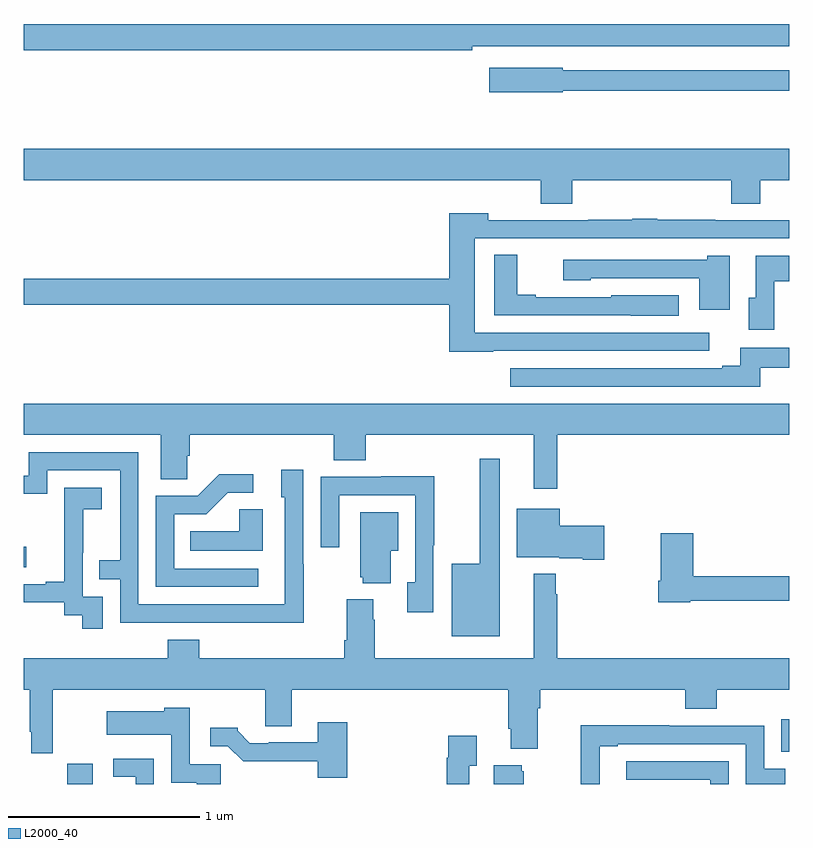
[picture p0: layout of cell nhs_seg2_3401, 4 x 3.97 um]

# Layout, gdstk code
import gdstk
lib = gdstk.Library(unit=1e-6, precision=1e-09)
def R(c, l, rs):  # rectangles x0, y0, x1, y1
    for r in rs: c.add(gdstk.rectangle(r[:2], r[2:], *l))
def P(c, l, *ps):  # polygons
    for p in ps: c.add(gdstk.Polygon(p, *l))
L2000_40 = (2000, 40)

nhs_seg2_3401 = lib.new_cell('nhs_seg2_3401')
R(nhs_seg2_3401, L2000_40, [(289.226,657.8,289.36,657.907), (292.959,657.969,293,658.138), (289,658.932,289.012,659.041)])
P(nhs_seg2_3401, L2000_40, [(291.344,661.656),(293,661.656),(293,661.772),(289,661.772),(289,661.636),(291.344,661.636)],
  [(291.816,661.422),(293,661.422),(293,661.53),(291.816,661.53),(291.816,661.543),(291.432,661.543),(291.432,661.414),(291.816,661.414)],
  [(291.866,660.956),(292.697,660.956),(292.697,660.832),(292.849,660.832),(292.849,660.956),(293,660.956),(293,661.12),(289,661.12),(289,660.956),(291.701,660.956),(291.701,660.832),(291.866,660.832)],
  [(291.454,660.063),(292.582,660.063),(292.582,660.159),(291.358,660.159),(291.358,660.651),(293,660.651),(293,660.747),(292.613,660.747),(292.613,660.749),(292.311,660.749),(292.311,660.754),(292.179,660.754),(292.179,660.749),(291.949,660.749),(291.949,660.747),(291.427,660.747),(291.427,660.784),(291.224,660.784),(291.224,660.44),(289,660.44),(289,660.304),(291.224,660.304),(291.224,660.058),(291.454,660.058)],
  [(292.423,660.355),(292.071,660.355),(292.071,660.345),(291.676,660.345),(291.676,660.358),(291.58,660.358),(291.58,660.566),(291.458,660.566),(291.458,660.249),(292.171,660.249),(292.171,660.248),(292.423,660.248)],
  [(292.923,660.428),(293,660.428),(293,660.562),(292.826,660.562),(292.826,660.34),(292.79,660.34),(292.79,660.174),(292.923,660.174)],
  [(292.69,660.562),(292.572,660.562),(292.572,660.54),(291.819,660.54),(291.819,660.434),(291.963,660.434),(291.963,660.444),(292.529,660.444),(292.529,660.278),(292.69,660.278)],
  [(292.849,659.975),(293,659.975),(293,660.079),(292.745,660.079),(292.745,659.986),(292.649,659.986),(292.649,659.973),(291.543,659.973),(291.543,659.877),(292.849,659.877)],
  [(291.787,659.624),(293,659.624),(293,659.788),(289,659.788),(289,659.624),(289.715,659.624),(289.715,659.392),(289.854,659.392),(289.854,659.515),(289.868,659.515),(289.868,659.624),(290.621,659.624),(290.621,659.491),(290.786,659.491),(290.786,659.624),(291.665,659.624),(291.665,659.343),(291.787,659.343)],
  [(290.463,658.949),(290.46,658.949),(290.46,659.443),(290.345,659.443),(290.345,659.298),(290.364,659.298),(290.364,658.74),(289.599,658.74),(289.599,659.535),(289.025,659.535),(289.025,659.412),(289,659.412),(289,659.316),(289.122,659.316),(289.122,659.439),(289.503,659.439),(289.503,658.97),(289.393,658.97),(289.393,658.869),(289.503,658.869),(289.503,658.644),(289.999,658.644),(289.999,658.643),(290.463,658.643)],
  [(291.487,659.5),(291.383,659.5),(291.383,658.951),(291.236,658.951),(291.236,658.571),(291.487,658.571)],
  [(290.224,658.926),(289.785,658.926),(289.785,659.211),(289.954,659.211),(290.065,659.322),(290.2,659.322),(290.2,659.42),(290.021,659.42),(289.908,659.307),(289.689,659.307),(289.689,658.83),(290.224,658.83)],
  [(291.141,659.047),(291.144,659.047),(291.144,659.408),(290.869,659.408),(290.869,659.406),(290.553,659.406),(290.553,659.037),(290.649,659.037),(290.649,659.31),(291.045,659.31),(291.045,658.854),(291.005,658.854),(291.005,658.698),(291.141,658.698)],
  [(289.413,658.779),(289.308,658.779),(289.308,659.009),(289.31,659.009),(289.31,659.237),(289.408,659.237),(289.408,659.347),(289.21,659.347),(289.21,659.141),(289.211,659.141),(289.211,658.858),(289.115,658.858),(289.115,658.845),(289,658.845),(289,658.749),(289.212,658.749),(289.212,658.681),(289.305,658.681),(289.305,658.611),(289.413,658.611)],
  [(292.033,659.151),(291.802,659.151),(291.802,659.239),(291.575,659.239),(291.575,658.985),(291.798,658.985),(291.798,658.979),(291.92,658.979),(291.92,658.973),(292.033,658.973)],
  [(290.248,659.237),(290.127,659.237),(290.127,659.122),(289.87,659.122),(289.87,659.018),(290.248,659.018)],
  [(290.917,659.018),(290.956,659.018),(290.956,659.221),(290.759,659.221),(290.759,658.881),(290.771,658.881),(290.771,658.85),(290.917,658.85)],
  [(292.482,658.758),(293,658.758),(293,658.886),(292.499,658.886),(292.499,659.11),(292.328,659.11),(292.328,658.861),(292.316,658.861),(292.316,658.75),(292.482,658.75)],
  [(290.261,658.102),(290.401,658.102),(290.401,658.292),(291.533,658.292),(291.533,658.09),(291.545,658.09),(291.545,657.983),(291.685,657.983),(291.685,658.196),(291.698,658.196),(291.698,658.292),(292.457,658.292),(292.457,658.193),(292.622,658.193),(292.622,658.292),(293,658.292),(293,658.456),(291.787,658.456),(291.787,658.793),(291.779,658.793),(291.779,658.9),(291.665,658.9),(291.665,658.456),(290.835,658.456),(290.835,658.658),(290.827,658.658),(290.827,658.765),(290.687,658.765),(290.687,658.552),(290.675,658.552),(290.675,658.456),(289.916,658.456),(289.916,658.555),(289.751,658.555),(289.751,658.456),(289,658.456),(289,658.292),(289.03,658.292),(289.03,658.072),(289.038,658.072),(289.038,657.96),(289.151,657.96),(289.151,658.292),(290.261,658.292)],
  [(290.029,657.903),(289.866,657.903),(289.866,658.198),(289.734,658.198),(289.734,658.18),(289.434,658.18),(289.434,658.058),(289.77,658.058),(289.77,657.806),(289.904,657.806),(289.904,657.8),(290.029,657.8)],
  [(290.69,658.123),(290.537,658.123),(290.537,658.017),(290.281,658.017),(290.281,658.014),(290.182,658.014),(290.118,658.078),(290.118,658.093),(289.974,658.093),(289.974,657.996),(290.067,657.996),(290.146,657.918),(290.535,657.918),(290.535,657.833),(290.69,657.833)],
  [(292.009,657.996),(292.105,657.996),(292.105,658.008),(292.773,658.008),(292.773,657.8),(292.979,657.8),(292.979,657.879),(292.869,657.879),(292.869,658.104),(292.373,658.104),(292.373,658.106),(291.91,658.106),(291.91,657.8),(292.009,657.8)],
  [(291.327,657.895),(291.367,657.895),(291.367,658.051),(291.219,658.051),(291.219,657.938),(291.211,657.938),(291.211,657.8),(291.327,657.8)],
  [(289.68,657.933),(289.467,657.933),(289.467,657.837),(289.584,657.837),(289.584,657.8),(289.68,657.8)],
  [(292.683,657.918),(292.149,657.918),(292.149,657.822),(292.587,657.822),(292.587,657.8),(292.683,657.8)],
  [(291.613,657.867),(291.602,657.867),(291.602,657.898),(291.455,657.898),(291.455,657.8),(291.613,657.8)])

lib.write_gds('nhs_seg2_3401.gds')
